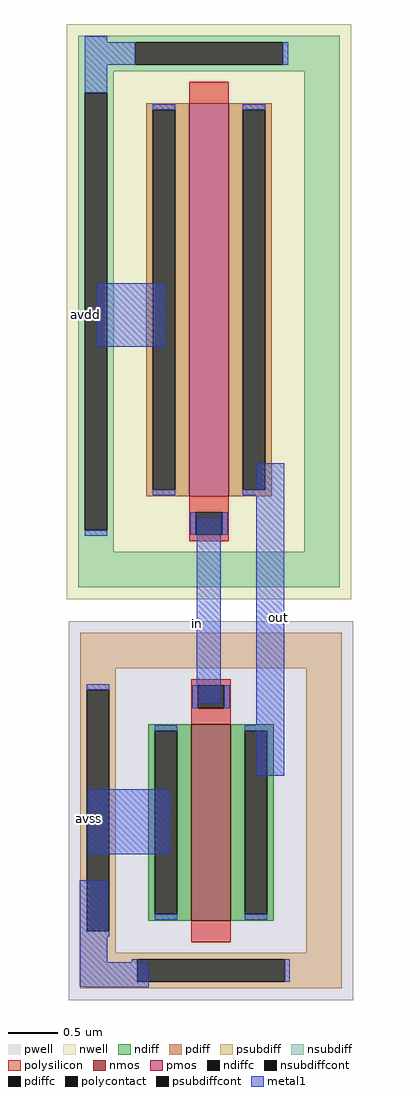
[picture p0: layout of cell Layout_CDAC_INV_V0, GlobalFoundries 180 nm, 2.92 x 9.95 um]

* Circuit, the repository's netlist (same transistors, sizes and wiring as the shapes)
* NGSPICE file created from Layout_CDAC_INV_V0.ext - technology: gf180mcuD

.subckt nfet_03v3_86US5R a_n128_n224# a_n266_n362# a_40_n224# a_n40_n268#
X0 a_40_n224# a_n40_n268# a_n128_n224# a_n266_n362# nfet_03v3 ad=0.88p pd=4.88u as=0.88p ps=4.88u w=2u l=0.4u
.ends

.subckt pfet_03v3_YPRA8C w_n290_n586# a_n128_n376# a_40_n376# a_n40_n468#
X0 a_40_n376# a_n40_n468# a_n128_n376# w_n290_n586# pfet_03v3 ad=1.76p pd=8.88u as=1.76p ps=8.88u w=4u l=0.4u
.ends

.subckt Layout_CDAC_INV_V0 avdd avss in out
XXM3 avss avss out in nfet_03v3_86US5R
XXM4 avdd avdd out in pfet_03v3_YPRA8C
.ends

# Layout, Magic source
magic
tech gf180mcuD
magscale 1 10
<< metal1 >>
rect 2547 565 2593 577
rect 2547 519 2642 565
rect 2547 465 2593 519
rect 2570 -56 2711 74
rect 2775 -783 2824 -403
rect 2896 -930 2953 -293
rect 2553 -1090 2719 -958
rect 2537 -1310 2593 -1143
rect 2537 -1360 2677 -1310
rect 2547 -1361 2677 -1360
use nfet_03v3_86US5R  XM3
transform 1 0 2804 0 1 -1001
box -290 -386 290 386
use pfet_03v3_YPRA8C  XM4
transform 1 0 2800 0 1 16
box -290 -586 290 586
<< labels >>
rlabel space 2549 10 2549 10 7 avdd
port 0 w
rlabel metal1 2554 -1018 2554 -1018 7 avss
port 1 w
rlabel metal1 2776 -631 2777 -610 1 in
port 2 n
rlabel metal1 2941 -617 2942 -596 1 out
port 3 n
<< end >>

# cell nfet_03v3_86US5R: kit device nfet_03v3, w 2.0 l 0.4 m 1 nf 1 diffcov 100 polycov 100 guard 1 glc 1 grc 0 gtc 0 gbc 1 tbcov 100 rlcov 100 topc 1 botc 0 poverlap 0 doverlap 1 lmin 0.28 wmin 0.22 class mosfet full_metal 0 compatible {nfet_03v3 nfet_06v0 nfet_06v0_nvt}

# cell pfet_03v3_YPRA8C: kit device pfet_03v3, w 4.0 l 0.4 m 1 nf 1 diffcov 100 polycov 100 guard 1 glc 1 grc 0 gtc 1 gbc 0 tbcov 100 rlcov 100 topc 0 botc 1 poverlap 0 doverlap 1 lmin 0.28 wmin 0.22 class mosfet full_metal 0 compatible {pfet_03v3 pfet_06v0}
